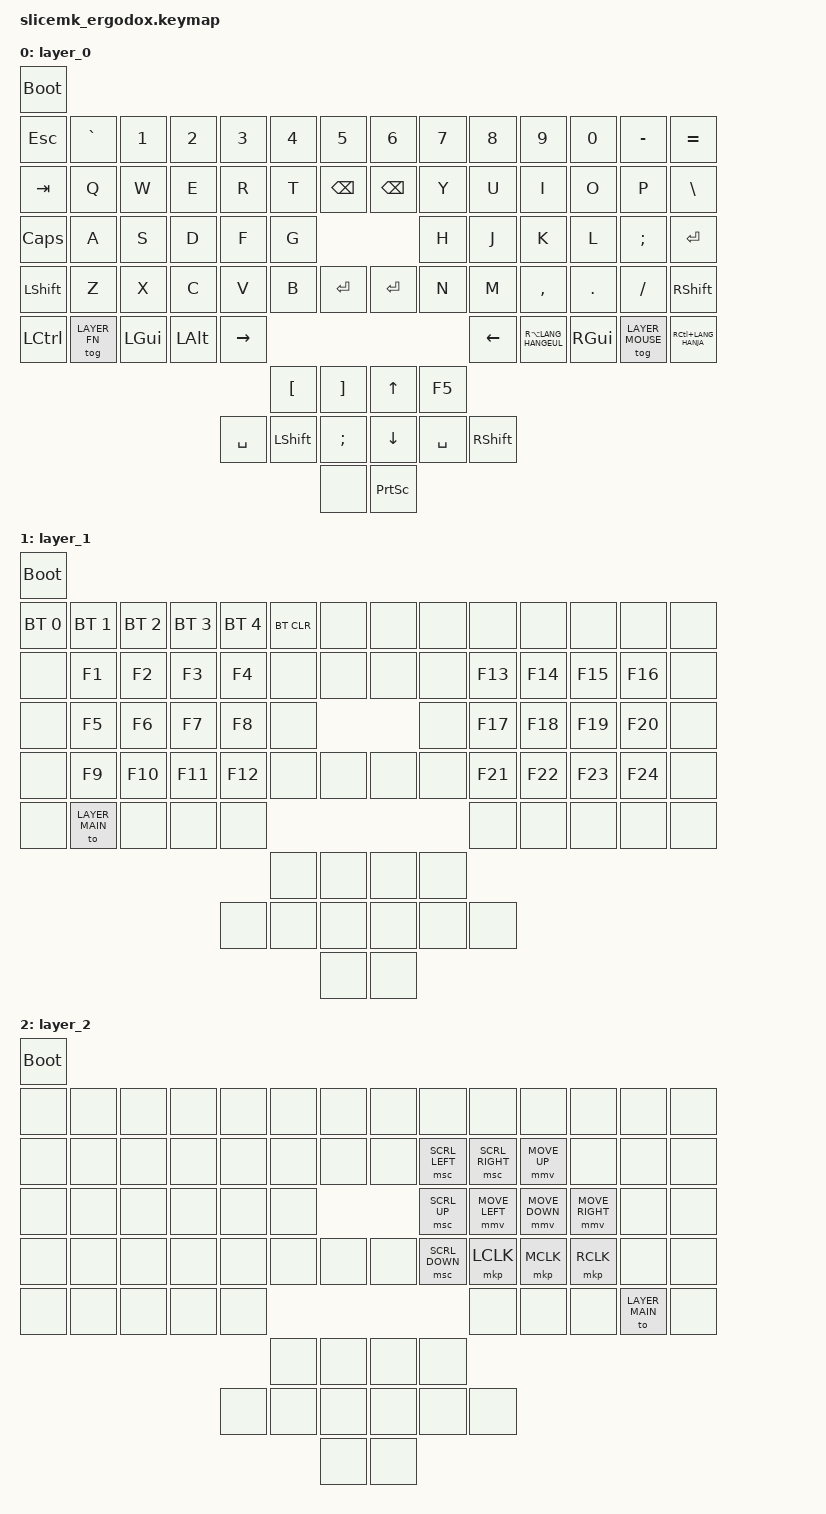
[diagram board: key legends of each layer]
#define LAYER_MAIN 0
#define LAYER_FN 1
#define LAYER_MOUSE 2

#include <behaviors.dtsi>
#include <dt-bindings/zmk/bt.h>
#include <dt-bindings/zmk/keys.h>
#include <dt-bindings/zmk/outputs.h>
#include <dt-bindings/zmk/pointing.h>
#include <dt-bindings/zmk/rgb.h>

/ {
	keymap {
		compatible = "zmk,keymap";
		layer_0 {
			bindings = <
				&bootloader
				&kp ESCAPE       &kp GRAVE     &kp NUMBER_1 &kp NUMBER_2 &kp NUMBER_3    &kp NUMBER_4     &kp NUMBER_5      &kp NUMBER_6    &kp NUMBER_7 &kp NUMBER_8    &kp NUMBER_9         &kp NUMBER_0  &kp MINUS        &kp EQUAL
				&kp TAB          &kp Q         &kp W        &kp E        &kp R           &kp T            &kp BACKSPACE     &kp BACKSPACE   &kp Y        &kp U           &kp I                &kp O         &kp P            &kp BACKSLASH
				&kp CAPSLOCK     &kp A         &kp S        &kp D        &kp F           &kp G                                              &kp H        &kp J           &kp K                &kp L         &kp SEMICOLON    &kp RETURN
				&kp LEFT_SHIFT   &kp Z         &kp X        &kp C        &kp V           &kp B            &kp RETURN        &kp RETURN      &kp N        &kp M           &kp COMMA            &kp PERIOD    &kp SLASH        &kp RIGHT_SHIFT
				&kp LEFT_CONTROL &tog LAYER_FN &kp LEFT_GUI &kp LEFT_ALT &kp RIGHT_ARROW                                                                 &kp LEFT_ARROW  &kp RA(LANG_HANGEUL) &kp RIGHT_GUI &tog LAYER_MOUSE &kp RC(LANG_HANJA)
				                                                                         &kp LEFT_BRACKET &kp RIGHT_BRACKET &kp UP_ARROW    &kp F5
				                                                         &kp SPACE       &kp LEFT_SHIFT   &kp SEMICOLON     &kp DOWN_ARROW  &kp SPACE    &kp RIGHT_SHIFT
				                                                                                          &none             &kp PRINTSCREEN
			>;
		};
		layer_1 {
			bindings = <
				&bootloader
				&bt BT_SEL 0 &bt BT_SEL 1   &bt BT_SEL 2 &bt BT_SEL 3 &bt BT_SEL 4 &bt BT_CLR &none &none &none &none   &none   &none   &none   &none
				&none        &kp F1         &kp F2       &kp F3       &kp F4       &none      &none &none &none &kp F13 &kp F14 &kp F15 &kp F16 &none
				&none        &kp F5         &kp F6       &kp F7       &kp F8       &none                  &none &kp F17 &kp F18 &kp F19 &kp F20 &none
				&none        &kp F9         &kp F10      &kp F11      &kp F12      &none      &none &none &none &kp F21 &kp F22 &kp F23 &kp F24 &none
				&none        &to LAYER_MAIN &none        &none        &none                                     &none   &none   &none   &none   &none
				                                                                   &none      &none &none &none
				                                                      &none        &none      &none &none &none &none
				                                                                              &none &none
			>;
		};
		layer_2 {
			bindings = <
				&bootloader
				&none &none &none &none &none &none &none &none &none          &none           &none          &none           &none          &none
				&none &none &none &none &none &none &none &none &msc SCRL_LEFT &msc SCRL_RIGHT &mmv MOVE_UP   &none           &none          &none
				&none &none &none &none &none &none             &msc SCRL_UP   &mmv MOVE_LEFT  &mmv MOVE_DOWN &mmv MOVE_RIGHT &none          &none
				&none &none &none &none &none &none &none &none &msc SCRL_DOWN &mkp LCLK       &mkp MCLK      &mkp RCLK       &none          &none
				&none &none &none &none &none                                  &none           &none          &none           &to LAYER_MAIN &none
				                              &none &none &none &none
				                        &none &none &none &none &none          &none
				                                    &none &none
			>;
		};
	};
};
